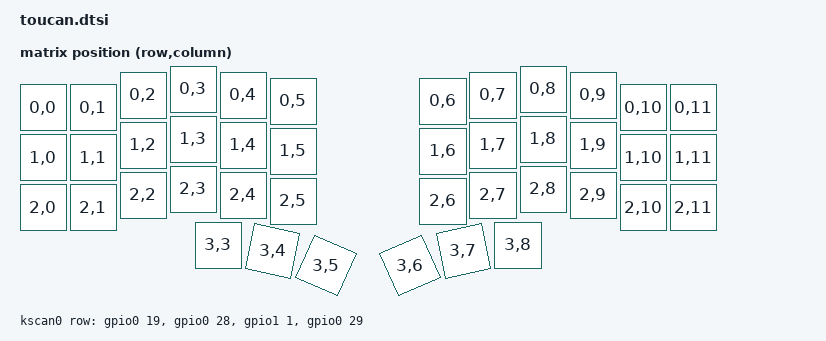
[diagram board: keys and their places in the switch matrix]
#include <input/processors.dtsi>
#include <dt-bindings/zmk/input_transform.h>
#include <dt-bindings/zmk/matrix_transform.h>
#include <physical_layouts.dtsi>
// 추가
#include <behaviors/input_processor_absolute_to_relative.dtsi>  // 마우스 이동 필수 파일
#include <behaviors/input_processor_gestures_dh.dtsi> // 제스처 설정파일
#include <dt-bindings/zmk/pointing.h>
#include <dt-bindings/input/input-event-codes.h>


/ {
    chosen {
        zmk,kscan = &kscan0;
        zmk,physical-layout = &default_layout;
        //zmk,physical-layout = &physical_layout0;
    };

    kscan0: kscan_0 {
        compatible = "zmk,kscan-gpio-matrix";
        diode-direction = "col2row";
        wakeup-source;

    row-gpios
    = <&gpio0 19 (GPIO_ACTIVE_HIGH | GPIO_PULL_DOWN)>
    , <&gpio0 28 (GPIO_ACTIVE_HIGH | GPIO_PULL_DOWN)>
    , <&gpio1 1 (GPIO_ACTIVE_HIGH | GPIO_PULL_DOWN)>
    , <&gpio0 29 (GPIO_ACTIVE_HIGH | GPIO_PULL_DOWN)>
    ;
    };

    default_layout: default_layout {
        compatible = "zmk,physical-layout";
        display-name = "Default Layout";
        transform = <&default_transform>;

        keys  //                     w   h    x    y     rot    rx    ry
            = <&key_physical_attrs 100 100    0   37       0     0     0>
            , <&key_physical_attrs 100 100  100   37       0     0     0>
            , <&key_physical_attrs 100 100  200   12       0     0     0>
            , <&key_physical_attrs 100 100  300    0       0     0     0>
            , <&key_physical_attrs 100 100  400   12       0     0     0>
            , <&key_physical_attrs 100 100  500   24       0     0     0>
            , <&key_physical_attrs 100 100  800   24       0     0     0>
            , <&key_physical_attrs 100 100  900   12       0     0     0>
            , <&key_physical_attrs 100 100 1000    0       0     0     0>
            , <&key_physical_attrs 100 100 1100   12       0     0     0>
            , <&key_physical_attrs 100 100 1200   37       0     0     0>
            , <&key_physical_attrs 100 100 1300   37       0     0     0>
            , <&key_physical_attrs 100 100    0  137       0     0     0>
            , <&key_physical_attrs 100 100  100  137       0     0     0>
            , <&key_physical_attrs 100 100  200  112       0     0     0>
            , <&key_physical_attrs 100 100  300  100       0     0     0>
            , <&key_physical_attrs 100 100  400  112       0     0     0>
            , <&key_physical_attrs 100 100  500  124       0     0     0>
            , <&key_physical_attrs 100 100  800  124       0     0     0>
            , <&key_physical_attrs 100 100  900  112       0     0     0>
            , <&key_physical_attrs 100 100 1000  100       0     0     0>
            , <&key_physical_attrs 100 100 1100  112       0     0     0>
            , <&key_physical_attrs 100 100 1200  137       0     0     0>
            , <&key_physical_attrs 100 100 1300  137       0     0     0>
            , <&key_physical_attrs 100 100    0  237       0     0     0>
            , <&key_physical_attrs 100 100  100  237       0     0     0>
            , <&key_physical_attrs 100 100  200  212       0     0     0>
            , <&key_physical_attrs 100 100  300  200       0     0     0>
            , <&key_physical_attrs 100 100  400  212       0     0     0>
            , <&key_physical_attrs 100 100  500  224       0     0     0>
            , <&key_physical_attrs 100 100  800  224       0     0     0>
            , <&key_physical_attrs 100 100  900  212       0     0     0>
            , <&key_physical_attrs 100 100 1000  200       0     0     0>
            , <&key_physical_attrs 100 100 1100  212       0     0     0>
            , <&key_physical_attrs 100 100 1200  237       0     0     0>
            , <&key_physical_attrs 100 100 1300  237       0     0     0>
            , <&key_physical_attrs 100 100  350  312       0     0     0>
            , <&key_physical_attrs 100 100  450  312    1200   450   412>
            , <&key_physical_attrs 100 100  548  328    2400   548   433>
            , <&key_physical_attrs 100 100  752  328  (-2400)  852   433>
            , <&key_physical_attrs 100 100  850  312  (-1200)  950   412>
            , <&key_physical_attrs 100 100  950  312       0     0     0>
            ;
    };

    default_transform: keymap_transform_0 {
        compatible = "zmk,matrix-transform";
        columns = <12>;
        rows = <4>;
        // | SW1  | SW2  | SW3  | SW4  | SW5  | SW6  |   | SW6  | SW5  | SW4  | SW3  | SW2  | SW1  |
        // | SW7  | SW8  | SW9  | SW10 | SW11 | SW12 |   | SW12 | SW11 | SW10 | SW9  | SW8  | SW7  |
        // | SW13 | SW14 | SW15 | SW16 | SW17 | SW18 |   | SW18 | SW17 | SW16 | SW15 | SW14 | SW13 |
        //                      | SW19 | SW20 | SW21 |   | SW21 | SW20 | SW19 |
                map = <
        RC(0,0) RC(0,1) RC(0,2) RC(0,3) RC(0,4) RC(0,5)  RC(0,6) RC(0,7) RC(0,8) RC(0,9) RC(0,10) RC(0,11)
        RC(1,0) RC(1,1) RC(1,2) RC(1,3) RC(1,4) RC(1,5)  RC(1,6) RC(1,7) RC(1,8) RC(1,9) RC(1,10) RC(1,11)
        RC(2,0) RC(2,1) RC(2,2) RC(2,3) RC(2,4) RC(2,5)  RC(2,6) RC(2,7) RC(2,8) RC(2,9) RC(2,10) RC(2,11)
                                RC(3,3) RC(3,4) RC(3,5)  RC(3,6) RC(3,7) RC(3,8)
        >;
    };
};

/ {
    split_inputs {
        #address-cells = <1>;
        #size-cells = <0>;

        glidepoint_split: glidepoint_split@0 {
            compatible = "zmk,input-split";
            reg = <0>;
        };
    };

glidepoint_listener: glidepoint_listener {
        compatible = "zmk,input-listener";
        status = "disabled";
        device = <&glidepoint_split>;

        /* 1. 기본 레이어 (레이어 0) */
        input-processors = <
            &zip_gestures             // 1순위: 좌표가 변하기 전에 제스처(써클 스크롤) 감지
            &zip_absolute_to_relative // 3순위: 이제 마우스 이동을 위해 좌표 변환
            &zip_xy_scaler 100 100    // 4순위: 변환된 신호의 속도 조절
            &zip_scroll_scaler (-15) 100  // 스크롤 방향 반전을 위해 음수(-) 값 적용
        >;

        /* 2. 스크롤 모드 (레이어 1, 5) */
        scroller {
            layers = <1 5>;
            input-processors = <
                &zip_gestures             // 스크롤 중에도 탭 클릭(우클릭 등) 가능하게 추가
                &zip_absolute_to_relative 
                &zip_xy_to_scroll_mapper
                &zip_scroll_scaler 10 100
                &zip_scroll_transform INPUT_TRANSFORM_X_INVERT
            >;
        };
    };
};

//추가 - 탭 투 클릭
&zip_gestures {
    tap-detection;
    touch-layer = <3>;
    ignore-layers = <1 5>;
    prevent_movement_during_tap;
    tap-timout-ms = <150>;
//    tap-to-drag;
    circular-scroll;
    circular-scroll-rim-percent = <10>;
};

//추가 - 배터리 충전전류
&gpio0 {
    charge_100ma_hog {
        gpio-hog;
        gpios = <13 GPIO_ACTIVE_HIGH>;
        output-low;    /* 부팅 즉시 강제로 P0.13을 LOW로 떨어뜨림 */
        line-name = "Charge_100mA";
    };
};

